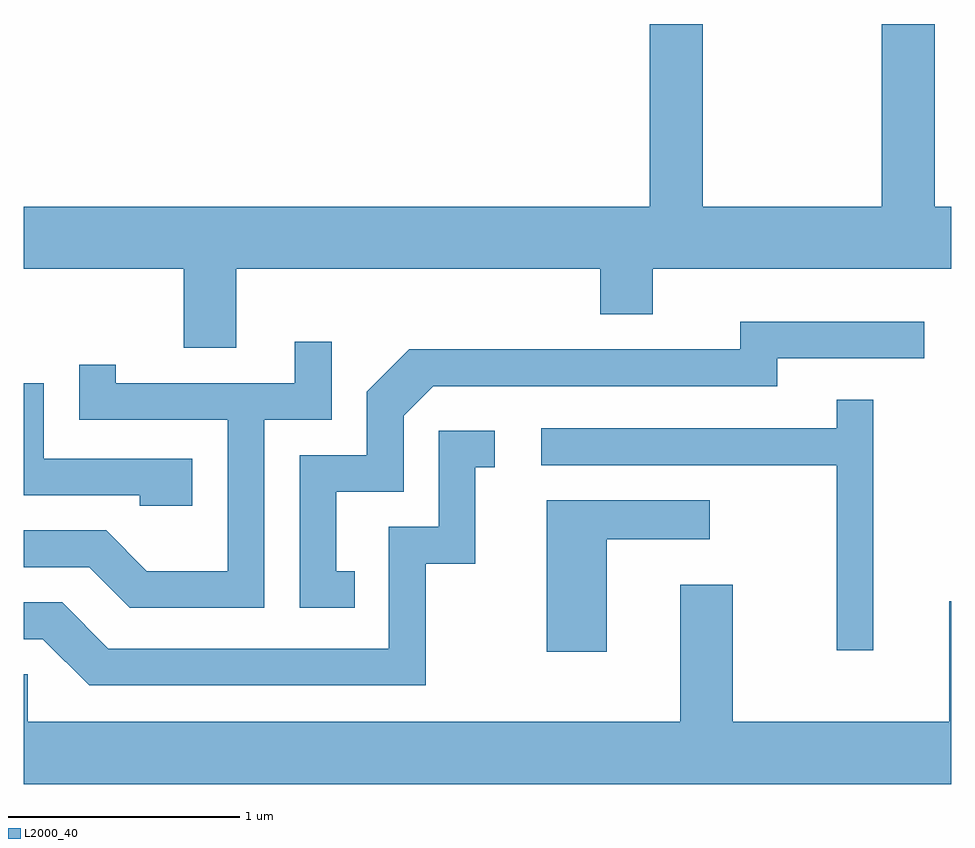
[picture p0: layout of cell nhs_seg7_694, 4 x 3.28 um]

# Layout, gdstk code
import gdstk
lib = gdstk.Library(unit=1e-6, precision=1e-09)
def P(c, l, *ps):  # polygons
    for p in ps: c.add(gdstk.Polygon(p, *l))
L2000_40 = (2000, 40)

nhs_seg7_694 = lib.new_cell('nhs_seg7_694')
P(nhs_seg7_694, L2000_40, [(206.529,1723.196),(208.096,1723.196),(208.096,1723.001),(208.324,1723.001),(208.324,1723.196),(209.611,1723.196),(209.611,1723.464),(209.539,1723.464),(209.539,1724.252),(209.311,1724.252),(209.311,1723.464),(208.539,1723.464),(208.539,1724.252),(208.311,1724.252),(208.311,1723.464),(205.611,1723.464),(205.611,1723.196),(206.301,1723.196),(206.301,1722.856),(206.529,1722.856)],
  [(207.038,1721.894),(206.959,1721.894),(206.959,1722.236),(207.249,1722.236),(207.249,1722.564),(207.377,1722.691),(208.859,1722.691),(208.859,1722.811),(209.493,1722.811),(209.493,1722.969),(208.701,1722.969),(208.701,1722.849),(207.274,1722.849),(207.091,1722.667),(207.091,1722.394),(206.801,1722.394),(206.801,1721.736),(207.038,1721.736)],
  [(206.649,1722.546),(206.939,1722.546),(206.939,1722.883),(206.781,1722.883),(206.781,1722.704),(206.009,1722.704),(206.009,1722.783),(205.851,1722.783),(205.851,1722.546),(206.491,1722.546),(206.491,1721.894),(206.142,1721.894),(205.967,1722.069),(205.611,1722.069),(205.611,1721.911),(205.894,1721.911),(206.069,1721.736),(206.649,1721.736)],
  [(206.339,1722.379),(205.699,1722.379),(205.699,1722.704),(205.611,1722.704),(205.611,1722.221),(206.111,1722.221),(206.111,1722.176),(206.339,1722.176)],
  [(209.274,1722.633),(209.116,1722.633),(209.116,1722.509),(207.843,1722.509),(207.843,1722.351),(209.116,1722.351),(209.116,1721.553),(209.274,1721.553)],
  [(207.344,1721.926),(207.559,1721.926),(207.559,1722.341),(207.643,1722.341),(207.643,1722.499),(207.401,1722.499),(207.401,1722.084),(207.186,1722.084),(207.186,1721.559),(205.977,1721.559),(205.777,1721.759),(205.611,1721.759),(205.611,1721.601),(205.694,1721.601),(205.894,1721.401),(207.344,1721.401)],
  [(208.124,1722.031),(208.568,1722.031),(208.568,1722.199),(207.866,1722.199),(207.866,1721.546),(208.124,1721.546)],
  [(209.611,1721.764),(209.601,1721.764),(209.601,1721.244),(208.669,1721.244),(208.669,1721.834),(208.441,1721.834),(208.441,1721.244),(205.629,1721.244),(205.629,1721.449),(205.611,1721.449),(205.611,1720.976),(209.611,1720.976)])

lib.write_gds('nhs_seg7_694.gds')
